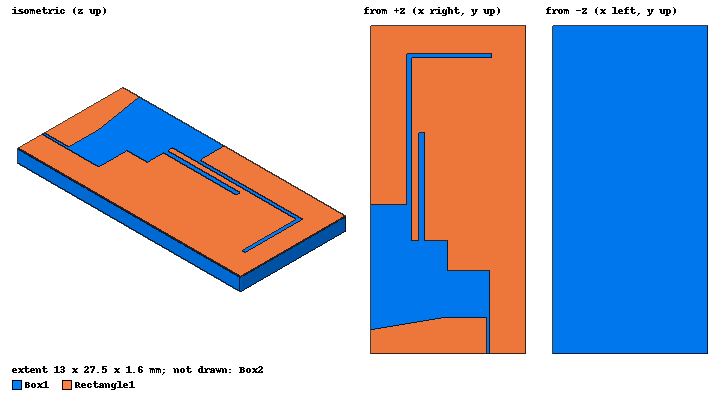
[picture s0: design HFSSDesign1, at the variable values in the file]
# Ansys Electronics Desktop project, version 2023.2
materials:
  vacuum: permittivity=1
  FR4_epoxy: permittivity=4.4 dielectric_loss_tangent=0.02

design HFSSDesign1 (HFSS, HFSS Modal Network, model units mm)
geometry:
  Box1 [FR4_epoxy] = box(corner=(-6.5mm, -13.75mm, 0mm), size=(13mm, 27.5mm, 1.6mm))
  Rectangle1 = rectangle(corner=(-6.5mm, -13.75mm, 1.6mm), x_size=13mm, y_size=27.5mm)
  Rectangle2 = rectangle(corner=(-6.5mm, -10.75mm, 1.6mm), x_size=3mm, y_size=9.5mm)
  Rectangle1.subtract(Rectangle2)
  Rectangle3 = rectangle(corner=(3.2mm, -13.75mm, 1.6mm), x_size=0.3mm, y_size=7mm)
  Rectangle1.subtract(Rectangle3)
  Rectangle4 = rectangle(corner=(-6.5mm, -10.75mm, 1.6mm), x_size=10mm, y_size=4mm)
  Rectangle1.subtract(Rectangle4)
  Rectangle5 = rectangle(corner=(-3.5mm, -6.75mm, 1.6mm), x_size=0.4mm, y_size=(16.9+1.28) mm)
  Rectangle1.subtract(Rectangle5)
  Rectangle6 = rectangle(corner=(-3.5mm, (9.75+1.28) mm, 1.6mm), x_size=7.12mm, y_size=0.4mm)
  Rectangle1.subtract(Rectangle6)
  Rectangle7 = rectangle(corner=(-3.1mm, -6.75mm, 1.6mm), x_size=3.1mm, y_size=2.5mm)
  Rectangle1.subtract(Rectangle7)
  Rectangle8 = rectangle(corner=(-2.5mm, -4.25mm, 1.6mm), x_size=0.5mm, y_size=9mm)
  point Point1 = (-3.1mm, -4.25mm, 1.6mm)
  Rectangle1.subtract(Rectangle8)
  Polyline3 = polyline(z=1.6mm, xy in mm: (-6.5, -11.75) (-0.5, -10.75) (-6.5, -10.75) (-6.5, -11.75), closed, covered)
  Rectangle1.subtract(Polyline3)
  Rectangle9 = rectangle(corner=((-13/2) mm, -13.75mm, 1.6mm), z_size=-1.6mm, x_size=13mm)
  Box2 [vacuum] = box(corner=(-150mm, -150mm, -75mm), size=(300mm, 300mm, 150mm))
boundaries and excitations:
  PerfE2: Perfect E Objects=Rectangle1
  Rad1: Radiation Objects=Box2
  1: Lumped Port Objects=Rectangle9 LumpedPortType=Modal Modes{Mode1{IntLine{(-6.5, -13.75, 0.8) -> (6.5, -13.75, 0.8)} CharImp=Zpi RenormImp=50ohm}} Impedance=50ohm
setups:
  Setup1: HfssDriven MultipleAdaptiveFreqsSetup{AdaptAt{Frequency=2.4GHz Delta=0.02} AdaptAt{Frequency=3.5GHz Delta=0.02} AdaptAt{Frequency=5.5GHz Delta=0.02}} MaximumPasses=10 MinimumPasses=1 MinimumConvergedPasses=1 PercentRefinement=30 BasisOrder=1 PortAccuracy=2 DrivenSolverType="Direct Solver"
    sweep Sweep: 2GHz to 6GHz, 401 points; Type=Fast SaveFields
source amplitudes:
  1:1: 1W 0deg
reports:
  S Parameter Plot 1: dB(S(1,1)) vs Freq on Setup1 : Sweep; markers m1 at 2.22GHz, m2 at 3.42GHz, m3 at 5.36GHz
